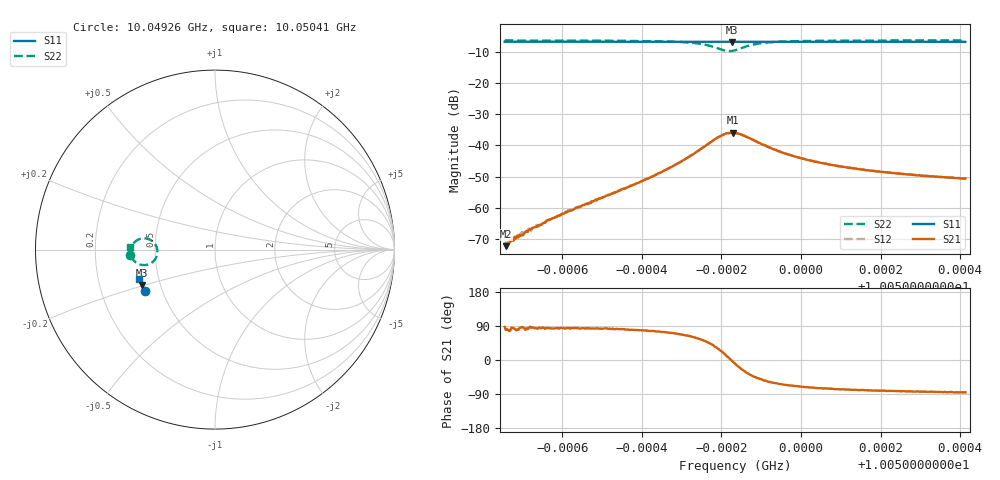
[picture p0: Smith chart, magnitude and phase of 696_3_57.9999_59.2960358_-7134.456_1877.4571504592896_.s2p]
#  HZ  S  RI  R  50.00
! Rohde & Schwarz Vector Network Analyzer
! Rohde-Schwarz,ZNB20-2Port,1311601062101988,3.16
! Created: UTC 3/21/2024, 1:21:29 AM
! freq[Hz]  re:S11  im:S11  re:S21  im:S21  re:S12  im:S12  re:S22  im:S22
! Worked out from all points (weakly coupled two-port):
!   401 points, 10.04926 GHz to 10.05041 GHz, reference 50 ohm
!   highest |S21| = -35.90 dB at 10.04983 GHz (marker M1); lowest = -72.2 dB at 10.04926 GHz (marker M2)
!   lowest |S11| = -6.9 dB at 10.04983 GHz (marker M3), VSWR 2.65, Z = 19.8 - j9.88 ohm
!   |S11| at or under -10 dB: nowhere
!   |S22| runs from -9.9 to -6.5 dB; largest |S21 - S12| = 0.0011
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1.0049255e10  -0.3902 -0.2328  1.26e-05 0.000265  -2.5e-06 0.000255  -0.4736 -0.0304
1.0049258e10  -0.3902 -0.2327  4.64e-05 0.000242  3.48e-05 0.00028  -0.4737 -0.0302
1.0049287e10  -0.3912 -0.2311  5.79e-05 0.000361  3.2e-05 0.000354  -0.4737 -0.0274
1.0049296e10  -0.3914 -0.2305  2.8e-05 0.000361  2.66e-05 0.000391  -0.4737 -0.0267
1.0049325e10  -0.3925 -0.2288  3.08e-05 0.000483  2.04e-05 0.000475  -0.4736 -0.0237
1.0049359e10  -0.3934 -0.2268  6.43e-05 0.000612  4.48e-05 0.000622  -0.4733 -0.0202
1.0049449e10  -0.3963 -0.2215  0.000117 0.00108  6.82e-05 0.0011  -0.4726 -0.00982
1.0049524e10  -0.3986 -0.217  0.000248 0.00169  0.000149 0.00169  -0.4704 0.000706
1.0049643e10  -0.402 -0.2097  0.000913 0.00348  0.000764 0.00356  -0.4608 0.0249
1.0049713e10  -0.4038 -0.2054  0.00268 0.00563  0.00235 0.00582  -0.4405 0.048
1.0049773e10  -0.405 -0.2014  0.00839 0.00764  0.00795 0.00808  -0.3821 0.062
1.0049805e10  -0.4053 -0.1999  0.0142 0.00478  0.0139 0.00549  -0.3312 0.0268
1.0049825e10  -0.4054 -0.199  0.0159 -0.000431  0.0158 0.000643  -0.3213 -0.0229
1.0049828e10  -0.4054 -0.199  0.016 -0.00121  0.0159 -0.000164  -0.3229 -0.0302
1.0049834e10  -0.4057 -0.1989  0.0157 -0.00274  0.0156 -0.0018  -0.3279 -0.044
1.0049863e10  -0.4069 -0.1976  0.0115 -0.0076  0.0119 -0.0069  -0.374 -0.0833
1.0049904e10  -0.4084 -0.1954  0.00629 -0.00818  0.00696 -0.00791  -0.4257 -0.0802
1.0049964e10  -0.4104 -0.1917  0.00294 -0.00666  0.0034 -0.00653  -0.456 -0.0563
1.0050028e10  -0.4123 -0.1877  0.00168 -0.0054  0.00199 -0.00533  -0.4667 -0.0377
1.0050118e10  -0.4146 -0.1823  0.000947 -0.00433  0.00118 -0.00433  -0.4719 -0.0205
1.0050222e10  -0.4171 -0.1758  0.000517 -0.00365  0.000766 -0.00363  -0.4741 -0.00628
1.0050413e10  -0.4216 -0.1641  0.000238 -0.00297  0.000391 -0.00295  -0.4751 0.0132
